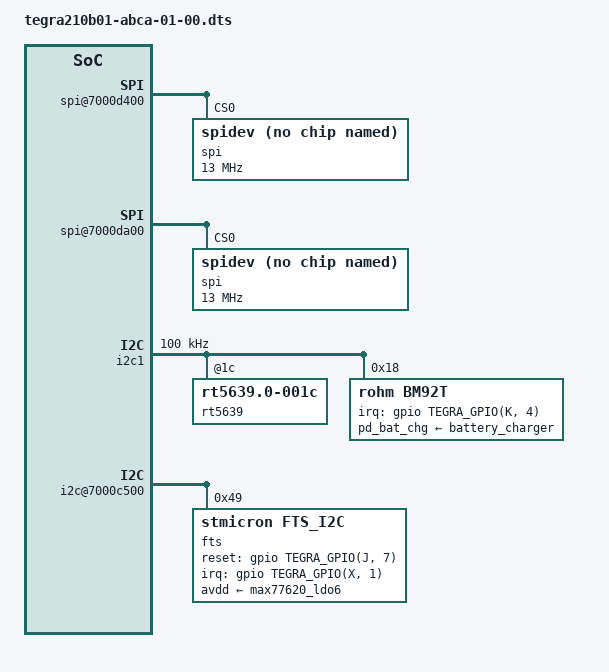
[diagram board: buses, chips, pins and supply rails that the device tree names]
/*
 * arch/arm64/boot/dts/tegra210-abca-04-00.dts
 *
 * Copyright (c) 2014-2016, NVIDIA CORPORATION.  All rights reserved.
 *
 * This program is free software; you can redistribute it and/or modify
 * it under the terms of the GNU General Public License as published by
 * the Free Software Foundation; version 2 of the License.
 *
 * This program is distributed in the hope that it will be useful, but WITHOUT
 * ANY WARRANTY; without even the implied warranty of MERCHANTABILITY or
 * FITNESS FOR A PARTICULAR PURPOSE.  See the GNU General Public License for
 * more details.
 *
 */

#include "abca-platforms/tegra210b01-abca-common.dtsi"
#include "abca-platforms/tegra210b01-abca-common-disp.dtsi"
#include "abca-platforms/tegra210b01-abca-power-tree-01-00.dtsi"
#include "abca-platforms/tegra210b01-abca-powermon.dtsi"
#include "abca-platforms/tegra210b01-abca-sensor-01-00.dtsi"

/ {
	nvidia,dtsfilename = __FILE__;

	extcon {
		extcon@0 {
			status = "disabled";
		};
	};

	xudc@700d0000 {
		extcon-cables = <&bm92t 1>;
		extcon-cable-names = "vbus";
	};

	xusb@70090000 {
		extcon-cables = <&bm92t 0>;
		extcon-cable-names = "id";
	};

	spi@7000d400 {
		status = "okay";
		spi@0 {
			compatible = "spidev";
			reg = <0>;
			spi-max-frequency = <13000000>;
		};
	};
	spi@7000da00 {
		status = "okay";
		spi@0 {
			compatible = "spidev";
			reg = <0>;
			spi-max-frequency = <13000000>;
		};
	};

	i2c1: i2c@7000c000 {
		clock-frequency = <100000>;
	};

	i2c@7000c000 {
		rt5639: rt5639.0-001c@1c {
			sel_jd_source = <4>;
		};
		bm92t: bm92t@18 {
			compatible = "rohm,bm92t";
			reg = <0x18>;
			interrupt-parent = <&gpio>;
			interrupts = <TEGRA_GPIO(K, 4) 0x01>;
			#extcon-cells = <1>;
			pd_bat_chg-supply = <&battery_charger>;
		};
	};

	i2c@7000c500 {
		fts@49 {
			compatible = "stmicron,fts_i2c";
			reg = <0x49>;
			interrupt-parent = <&gpio>;
			interrupts = <TEGRA_GPIO(X, 1) 0x01>; /* GPIO_PX1 */
			reset-gpio = <&gpio TEGRA_GPIO(J, 7) 0>; /* GPIO_PJ7 */
			avdd-supply = <&max77620_ldo6>;
		};
	};

	psy_extcon_xudc {
		compatible = "power-supply-extcon";
		extcon-cables = <&tegra_usb_cd 0 &tegra_usb_cd 1 &tegra_usb_cd 2
				&tegra_usb_cd 3 &tegra_usb_cd 4 &tegra_usb_cd 5
				&tegra_usb_cd 6 &tegra_usb_cd 7 &tegra_usb_cd 8 &bm92t 2>;
		extcon-cable-names = "usb-charger", "ta-charger", "qc2-charger",
				"maxim-charger", "downstream-charger", "slow-charger",
				"apple-500ma", "apple-1a", "apple-2a", "usb-pd";
		#extcon-cells = <1>;
		status = "okay";
		dt-override-status-odm-data = <0x1000000 0x1000000>;
	};

	core_dvfs_cap: core_dvfs_cdev_cap {
		status = "disabled";
	};

	dfll-cdev-cap {
		status = "disabled";
	};

	gpu-vmax-cdev {
		status = "disabled";
	};

	/delete-node/ usb_cd@7009f000;
};
